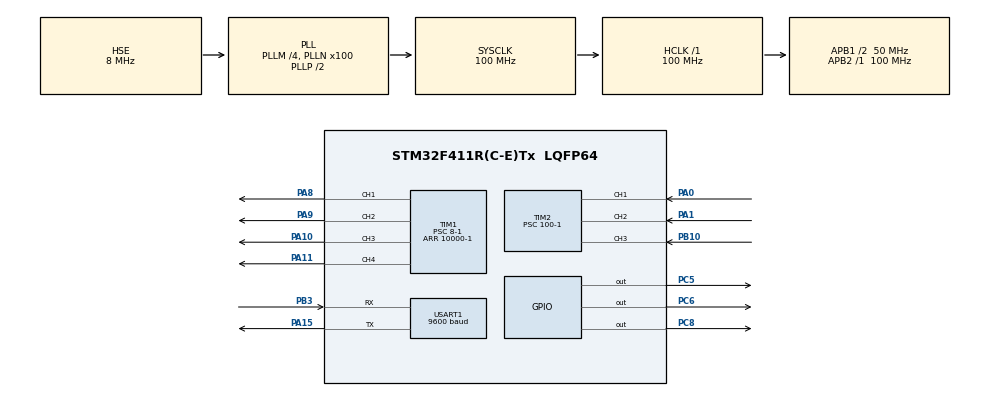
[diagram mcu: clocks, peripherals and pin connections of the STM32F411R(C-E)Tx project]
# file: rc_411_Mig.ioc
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Mcu.Family=STM32F4
Mcu.Name=STM32F411R(C-E)Tx
Mcu.Package=LQFP64
NVIC.PriorityGroup=NVIC_PRIORITYGROUP_4
NVIC.TIM2_IRQn=true\:1\:0\:false\:false\:true\:true\:true\:true
NVIC.USART1_IRQn=true\:0\:0\:false\:false\:true\:true\:true\:true
PA0-WKUP.Signal=S_TIM2_CH1_ETR
PA1.Signal=S_TIM2_CH2
PA10.Signal=S_TIM1_CH3
PA11.Signal=S_TIM1_CH4
PA13.Mode=Serial_Wire
PA13.Signal=SYS_JTMS-SWDIO
PA14.Mode=Serial_Wire
PA14.Signal=SYS_JTCK-SWCLK
PA15.Mode=Asynchronous
PA15.Signal=USART1_TX
PA8.Signal=S_TIM1_CH1
PA9.Signal=S_TIM1_CH2
PB10.Signal=S_TIM2_CH3
PB3.Mode=Asynchronous
PB3.Signal=USART1_RX
PC5.Signal=GPIO_Output
PC6.Signal=GPIO_Output
PC8.Signal=GPIO_Output
PH0\ -\ OSC_IN.Mode=HSE-External-Clock-Source
PH0\ -\ OSC_IN.Signal=RCC_OSC_IN
PH1\ -\ OSC_OUT.Mode=HSE-External-Clock-Source
PH1\ -\ OSC_OUT.Signal=RCC_OSC_OUT
ProjectManager.HeapSize=0x200
ProjectManager.StackSize=0x400
ProjectManager.TargetToolchain=STM32CubeIDE
RCC.48MHZClocksFreq_Value=50000000
RCC.AHBFreq_Value=100000000
RCC.APB1CLKDivider=RCC_HCLK_DIV2
RCC.APB1Freq_Value=50000000
RCC.APB1TimFreq_Value=100000000
RCC.APB2Freq_Value=100000000
RCC.APB2TimFreq_Value=100000000
RCC.CortexFreq_Value=100000000
RCC.HCLKFreq_Value=100000000
RCC.HSE_VALUE=8000000
RCC.HSI_VALUE=16000000
RCC.LSE_VALUE=32768
RCC.PLLM=4
RCC.PLLN=100
RCC.PLLSourceVirtual=RCC_PLLSOURCE_HSE
RCC.SYSCLKFreq_VALUE=100000000
RCC.SYSCLKSource=RCC_SYSCLKSOURCE_PLLCLK
RCC.VCOOutputFreq_Value=200000000
SH.S_TIM1_CH1.0=TIM1_CH1,PWM Generation1 CH1
SH.S_TIM1_CH2.0=TIM1_CH2,PWM Generation2 CH2
SH.S_TIM1_CH3.0=TIM1_CH3,PWM Generation3 CH3
SH.S_TIM1_CH4.0=TIM1_CH4,PWM Generation4 CH4
SH.S_TIM2_CH1_ETR.0=TIM2_CH1,Input_Capture1_from_TI1
SH.S_TIM2_CH2.0=TIM2_CH2,Input_Capture2_from_TI2
SH.S_TIM2_CH3.0=TIM2_CH3,Input_Capture3_from_TI3
TIM1.Channel-PWM\ Generation1\ CH1=TIM_CHANNEL_1
TIM1.Channel-PWM\ Generation2\ CH2=TIM_CHANNEL_2
TIM1.Channel-PWM\ Generation3\ CH3=TIM_CHANNEL_3
TIM1.Channel-PWM\ Generation4\ CH4=TIM_CHANNEL_4
TIM1.Period=10000-1
TIM1.Prescaler=8-1
TIM2.Channel-Input_Capture1_from_TI1=TIM_CHANNEL_1
TIM2.Channel-Input_Capture2_from_TI2=TIM_CHANNEL_2
TIM2.Channel-Input_Capture3_from_TI3=TIM_CHANNEL_3
TIM2.Prescaler=100-1
TIM3.Prescaler=100-1
USART1.BaudRate=9600
USART1.VirtualMode=VM_ASYNC
VP_TIM2_VS_ClockSourceINT.Mode=Internal
VP_TIM3_VS_ClockSourceINT.Mode=Internal
board=custom

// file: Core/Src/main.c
/* USER CODE BEGIN Header */
/**
  ******************************************************************************
  * @file           : main.c
  * @brief          : Main program body
  ******************************************************************************
  * @attention
  *
  * Copyright (c) 2026 STMicroelectronics.
  * All rights reserved.
  *
  * This software is licensed under terms that can be found in the LICENSE file
  * in the root directory of this software component.
  * If no LICENSE file comes with this software, it is provided AS-IS.
  *
  ******************************************************************************
  */
/* USER CODE END Header */
#include "main.h"
#include "tim.h"
#include "usart.h"
#include "gpio.h"

/* USER CODE BEGIN Includes */

#include "rc.h"
#include "delay.h"
#include "auto.h"
#include "hcsr04.h"
#include "bluetooth.h"

/* USER CODE END Includes */

/* USER CODE BEGIN PV */

volatile uint8_t flag = 0;
volatile uint8_t mode = 0;
static AMC c_auto;

/* USER CODE END PV */

void SystemClock_Config(void);

int main(void)
{

  /* MCU Configuration--------------------------------------------------------*/

  /* Reset of all peripherals, Initializes the Flash interface and the Systick. */
  HAL_Init();

  /* Configure the system clock */
  SystemClock_Config();

  /* Initialize all configured peripherals */
  MX_GPIO_Init();
  MX_TIM1_Init();
  MX_TIM2_Init();
  MX_TIM3_Init();
  MX_USART1_UART_Init();
  /* USER CODE BEGIN 2 */
  if (HAL_TIM_PWM_Start(&htim1, TIM_CHANNEL_1) != HAL_OK) { Error_Handler(); }
  if (HAL_TIM_PWM_Start(&htim1, TIM_CHANNEL_2) != HAL_OK) { Error_Handler(); }
  if (HAL_TIM_PWM_Start(&htim1, TIM_CHANNEL_3) != HAL_OK) { Error_Handler(); }
  if (HAL_TIM_PWM_Start(&htim1, TIM_CHANNEL_4) != HAL_OK) { Error_Handler(); }

  if (HAL_TIM_IC_Start_IT(&htim2, TIM_CHANNEL_1) != HAL_OK) { Error_Handler(); }
  if (HAL_TIM_IC_Start_IT(&htim2, TIM_CHANNEL_2) != HAL_OK) { Error_Handler(); }
  if (HAL_TIM_IC_Start_IT(&htim2, TIM_CHANNEL_3) != HAL_OK) { Error_Handler(); }

  if (HAL_TIM_Base_Start(&htim3) != HAL_OK) { Error_Handler(); }
  Bluetooth_Init();
  Bluetooth_Start();
  Auto_Init(&c_auto, 20, 5, 200, 40);
  HCSR04_INIT();
  /* USER CODE END 2 */

  /* Infinite loop */
  /* USER CODE BEGIN WHILE */
  while (1)
  {
      Bluetooth_Poll();

	  mode = Bluetooth_GetMode();
	  flag = Bluetooth_GetFlag();
	  if(mode == 1)
	  {
		  Auto_Update(&c_auto, HCSR04_GetDistance(), HCSR04_GetReady());
	  }
	  else if(mode == 0)
	  {
		  move(flag);
	  }
	  // 플레그에 따라 동작.
    /* USER CODE END WHILE */

  }
}

void SystemClock_Config(void)
{
  RCC_OscInitTypeDef RCC_OscInitStruct = {0};
  RCC_ClkInitTypeDef RCC_ClkInitStruct = {0};

  /** Configure the main internal regulator output voltage
  */
  __HAL_RCC_PWR_CLK_ENABLE();
  __HAL_PWR_VOLTAGESCALING_CONFIG(PWR_REGULATOR_VOLTAGE_SCALE1);

  /** Initializes the RCC Oscillators according to the specified parameters
  * in the RCC_OscInitTypeDef structure.
  */
  RCC_OscInitStruct.OscillatorType = RCC_OSCILLATORTYPE_HSE;
  RCC_OscInitStruct.HSEState = RCC_HSE_BYPASS;
  RCC_OscInitStruct.PLL.PLLState = RCC_PLL_ON;
  RCC_OscInitStruct.PLL.PLLSource = RCC_PLLSOURCE_HSE;
  RCC_OscInitStruct.PLL.PLLM = 4;
  RCC_OscInitStruct.PLL.PLLN = 100;
  RCC_OscInitStruct.PLL.PLLP = RCC_PLLP_DIV2;
  RCC_OscInitStruct.PLL.PLLQ = 4;
  if (HAL_RCC_OscConfig(&RCC_OscInitStruct) != HAL_OK)
  {
    Error_Handler();
  }

  /** Initializes the CPU, AHB and APB buses clocks
  */
  RCC_ClkInitStruct.ClockType = RCC_CLOCKTYPE_HCLK|RCC_CLOCKTYPE_SYSCLK
                              |RCC_CLOCKTYPE_PCLK1|RCC_CLOCKTYPE_PCLK2;
  RCC_ClkInitStruct.SYSCLKSource = RCC_SYSCLKSOURCE_PLLCLK;
  RCC_ClkInitStruct.AHBCLKDivider = RCC_SYSCLK_DIV1;
  RCC_ClkInitStruct.APB1CLKDivider = RCC_HCLK_DIV2;
  RCC_ClkInitStruct.APB2CLKDivider = RCC_HCLK_DIV1;

  if (HAL_RCC_ClockConfig(&RCC_ClkInitStruct, FLASH_LATENCY_3) != HAL_OK)
  {
    Error_Handler();
  }
}

void Error_Handler(void)
{
  __disable_irq();
  while (1)
  {
  }
}
